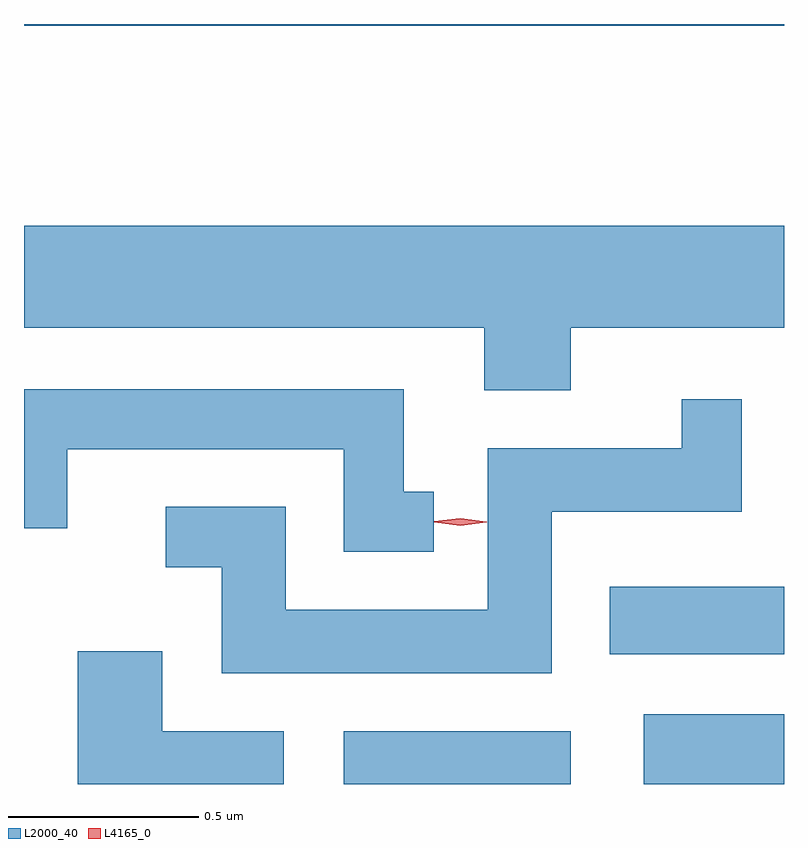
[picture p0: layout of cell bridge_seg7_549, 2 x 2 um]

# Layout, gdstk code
import gdstk
lib = gdstk.Library(unit=1e-6, precision=1e-09)
def R(c, l, rs):  # rectangles x0, y0, x1, y1
    for r in rs: c.add(gdstk.rectangle(r[:2], r[2:], *l))
def P(c, l, *ps):  # polygons
    for p in ps: c.add(gdstk.Polygon(p, *l))
L2000_40 = (2000, 40)
L4165_0 = (4165, 0)

bridge_seg7_549 = lib.new_cell('bridge_seg7_549')
R(bridge_seg7_549, L2000_40, [(851.711,1784.155,852.309,1784.294), (852.501,1784.155,852.87,1784.339), (852.411,1784.496,852.87,1784.674), (850.87,1786.151,852.87,1786.155)])
P(bridge_seg7_549, L2000_40, [(852.309,1785.356),(852.87,1785.356),(852.87,1785.624),(850.87,1785.624),(850.87,1785.356),(852.081,1785.356),(852.081,1785.191),(852.309,1785.191)],
  [(851.948,1784.924),(851.869,1784.924),(851.869,1785.194),(850.87,1785.194),(850.87,1784.828),(850.984,1784.828),(850.984,1785.036),(851.711,1785.036),(851.711,1784.766),(851.948,1784.766)],
  [(852.259,1784.871),(852.759,1784.871),(852.759,1785.168),(852.601,1785.168),(852.601,1785.039),(852.091,1785.039),(852.091,1784.614),(851.559,1784.614),(851.559,1784.884),(851.243,1784.884),(851.243,1784.726),(851.391,1784.726),(851.391,1784.446),(852.259,1784.446)],
  [(851.554,1784.294),(851.234,1784.294),(851.234,1784.504),(851.011,1784.504),(851.011,1784.155),(851.554,1784.155)])
P(bridge_seg7_549, L4165_0, [(852.018,1784.835),(851.949,1784.844),(851.949,1784.845),(851.949,1784.846),(852.018,1784.855),(852.088,1784.845),(852.088,1784.844),(852.088,1784.844)])

lib.write_gds('bridge_seg7_549.gds')
